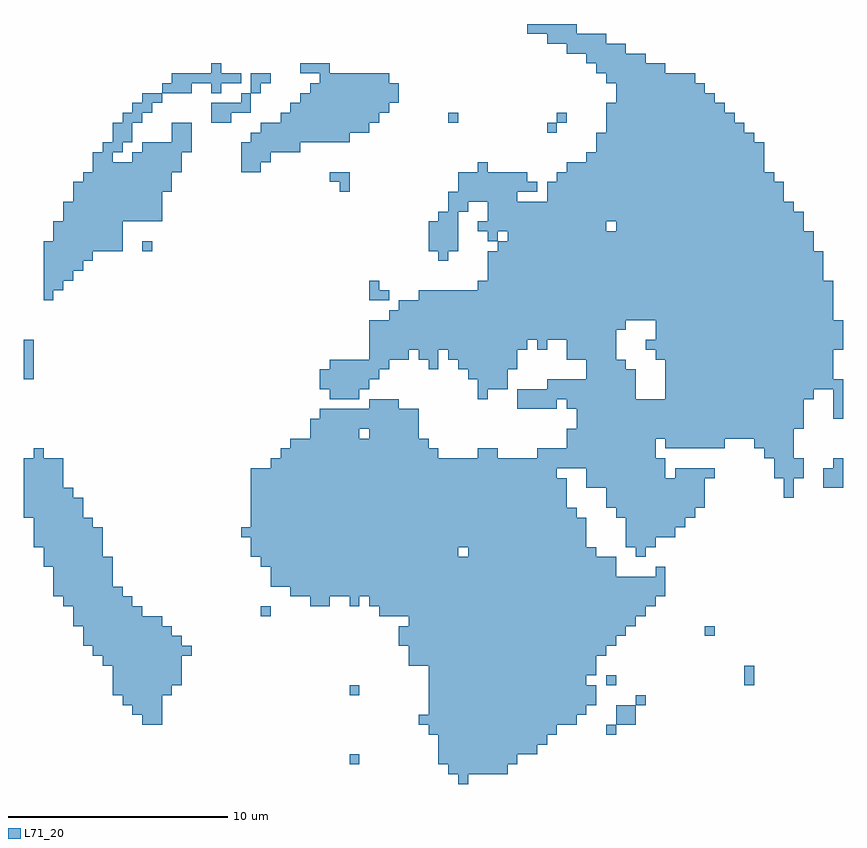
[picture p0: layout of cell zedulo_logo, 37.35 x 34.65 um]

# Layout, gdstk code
import gdstk
lib = gdstk.Library(unit=1e-6, precision=1e-09)
def R(c, l, rs):  # rectangles x0, y0, x1, y1
    for r in rs: c.add(gdstk.rectangle(r[:2], r[2:], *l))
def A(c, l, x, y, w, h, nx, ny, dx, dy):  # array of equal rectangles
    R(c, l, [(x+i*dx, y+j*dy, x+i*dx+w, y+j*dy+h) for i in range(nx) for j in range(ny)])
L71_20 = (71, 20)

zedulo_logo = lib.new_cell('zedulo_logo')
A(zedulo_logo, L71_20, 13.95, 17.55, 14.4, 0.45, 1, 3, 0, 0.45)
A(zedulo_logo, L71_20, 3.6, 18.45, 1.8, 0.45, 1, 3, 0, 0.45)
A(zedulo_logo, L71_20, 40.5, 21.6, 0.45, 0.45, 1, 3, 0, 0.45)
A(zedulo_logo, L71_20, 3.6, 23.4, 0.45, 0.45, 1, 4, 0, 0.45)
A(zedulo_logo, L71_20, 24.75, 27.9, 15.3, 0.45, 1, 3, 0, 0.45)
A(zedulo_logo, L71_20, 22.05, 29.25, 1.35, 0.45, 1, 3, 0, 0.45)
R(zedulo_logo, L71_20, [(23.4,4.95,23.85,5.4), (22.95,5.4,25.65,5.85), (18.45,5.85,18.9,6.3), (22.5,5.85,26.1,6.3), (22.5,6.3,27,6.75), (22.5,6.75,27.45,7.2), (22.05,7.2,27.9,7.65), (30.15,7.2,30.6,7.65), (9,7.65,9.9,8.1), (21.6,7.65,28.8,8.1), (30.6,7.65,31.5,8.1), (8.55,8.1,9.9,8.55), (22.05,8.1,29.25,8.55), (30.6,8.1,31.5,8.55), (8.1,8.55,9.9,9), (22.05,8.55,29.7,9), (31.5,8.55,31.95,9), (7.65,9,10.35,9.45), (18.45,9,18.9,9.45), (22.05,9,29.7,9.45), (7.65,9.45,10.8,9.9), (22.05,9.45,29.25,9.9), (30.15,9.45,30.6,9.9), (36.45,9.45,36.9,9.9), (7.65,9.9,10.8,10.35), (22.05,9.9,29.7,10.35), (36.45,9.9,36.9,10.35), (7.2,10.35,10.8,10.8), (21.15,10.35,29.7,10.8), (6.75,10.8,11.25,11.25), (21.15,10.8,30.15,11.25), (6.3,11.25,10.8,11.7), (20.7,11.25,30.6,11.7), (6.3,11.7,10.35,12.15), (20.7,11.7,31.05,12.15), (34.65,11.7,35.1,12.15), (5.85,12.15,9.9,12.6), (21.15,12.15,31.5,12.6), (5.85,12.6,9,13.05), (14.4,12.6,14.85,13.05), (19.8,12.6,31.95,13.05), (5.4,13.05,8.55,13.5), (16.65,13.05,17.55,13.5), (18.45,13.05,18.9,13.5), (19.35,13.05,32.4,13.5), (4.95,13.5,8.1,13.95), (15.75,13.5,32.85,13.95), (4.95,13.95,7.65,14.4), (14.85,13.95,32.85,14.4), (4.95,14.4,7.65,14.85), (14.85,14.4,30.6,14.85), (32.4,14.4,32.85,14.85), (4.5,14.85,7.65,15.3), (14.4,14.85,30.6,15.3), (4.5,15.3,7.2,15.75), (13.95,15.3,23.4,15.75), (23.85,15.3,29.7,15.75), (31.5,15.3,31.95,15.75), (4.05,15.75,7.2,16.2), (13.95,15.75,29.25,16.2), (31.05,15.75,32.4,16.2), (4.05,16.2,7.2,16.65), (13.5,16.2,29.25,16.65), (31.05,16.2,33.3,16.65), (4.05,16.65,6.75,17.1), (13.95,16.65,29.25,17.1), (31.05,16.65,33.75,17.1), (3.6,17.1,6.3,17.55), (13.95,17.1,28.8,17.55), (30.6,17.1,34.2,17.55), (3.6,17.55,6.3,18), (30.15,17.55,34.65,18), (3.6,18,5.85,18.45), (30.15,18,34.65,18.45), (38.25,18,38.7,18.45), (29.25,18.45,34.65,18.9), (38.25,18.45,38.7,18.9), (40.05,18.45,40.95,18.9), (13.95,18.9,27.9,19.35), (29.25,18.9,32.85,19.35), (33.3,18.9,35.1,19.35), (37.8,18.9,39.15,19.35), (40.05,18.9,40.95,19.35), (14.85,19.35,32.85,19.8), (37.8,19.35,39.15,19.8), (40.5,19.35,40.95,19.8), (4.05,19.8,4.5,20.25), (15.3,19.8,22.5,20.25), (24.3,19.8,25.2,20.25), (27,19.8,32.4,20.25), (37.35,19.8,38.7,20.25), (15.75,20.25,22.05,20.7), (28.35,20.25,32.4,20.7), (32.85,20.25,35.55,20.7), (36.9,20.25,38.7,20.7), (16.65,20.7,18.9,21.15), (19.35,20.7,21.6,21.15), (28.35,20.7,38.7,21.15), (16.65,21.15,21.6,21.6), (28.8,21.15,39.15,21.6), (17.1,21.6,21.6,22.05), (28.8,21.6,39.15,22.05), (19.35,22.05,20.7,22.5), (26.1,22.05,27.9,22.5), (28.35,22.05,39.15,22.5), (17.55,22.5,18.9,22.95), (24.3,22.5,24.75,22.95), (26.1,22.5,31.5,22.95), (32.85,22.5,39.6,22.95), (17.1,22.95,19.35,23.4), (24.3,22.95,25.65,23.4), (27.45,22.95,31.5,23.4), (32.85,22.95,40.95,23.4), (17.1,23.4,19.8,23.85), (23.85,23.4,25.65,23.85), (29.25,23.4,31.5,23.85), (32.85,23.4,40.5,23.85), (17.55,23.85,20.25,24.3), (22.05,23.85,22.5,24.3), (23.4,23.85,26.1,24.3), (29.25,23.85,31.05,24.3), (32.85,23.85,40.5,24.3), (19.35,24.3,21.15,24.75), (21.6,24.3,22.5,24.75), (22.95,24.3,26.1,24.75), (28.35,24.3,30.6,24.75), (32.4,24.3,40.5,24.75), (19.35,24.75,26.55,25.2), (27,24.75,27.45,25.2), (28.35,24.75,30.6,25.2), (31.95,24.75,40.95,25.2), (19.35,25.2,30.6,25.65), (32.4,25.2,40.95,25.65), (19.35,25.65,31.05,26.1), (32.4,25.65,40.95,26.1), (20.25,26.1,40.5,26.55), (20.7,26.55,40.5,27), (4.5,27,4.95,27.45), (19.35,27,20.25,27.45), (21.6,27,40.5,27.45), (4.5,27.45,5.4,27.9), (19.35,27.45,19.8,27.9), (24.3,27.45,40.5,27.9), (4.5,27.9,5.85,28.35), (4.5,28.35,6.3,28.8), (4.5,28.8,6.75,29.25), (22.5,28.8,22.95,29.25), (4.5,29.25,8.1,29.7), (9,29.25,9.45,29.7), (25.2,29.25,39.6,29.7), (4.95,29.7,8.1,30.15), (24.75,29.7,25.2,30.15), (25.65,29.7,39.6,30.15), (4.95,30.15,8.1,30.6), (24.3,30.15,30.15,30.6), (30.6,30.15,39.15,30.6), (5.4,30.6,9.9,31.05), (22.5,30.6,23.4,31.05), (24.75,30.6,39.15,31.05), (5.4,31.05,9.9,31.5), (22.95,31.05,23.85,31.5), (24.75,31.05,38.7,31.5), (5.85,31.5,9.9,31.95), (22.95,31.5,26.1,31.95), (27.45,31.5,38.25,31.95), (5.85,31.95,10.35,32.4), (18,31.95,18.45,32.4), (23.4,31.95,27,32.4), (27.45,31.95,38.25,32.4), (6.3,32.4,10.35,32.85), (17.55,32.4,18.45,32.85), (23.4,32.4,26.55,32.85), (27.9,32.4,37.8,32.85), (6.75,32.85,10.8,33.3), (13.5,32.85,14.4,33.3), (24.3,32.85,24.75,33.3), (28.35,32.85,37.35,33.3), (6.75,33.3,7.65,33.75), (8.55,33.3,10.8,33.75), (13.5,33.3,14.85,33.75), (29.25,33.3,37.35,33.75), (7.2,33.75,8.1,34.2), (9,33.75,11.25,34.2), (13.5,33.75,16.2,34.2), (29.7,33.75,37.35,34.2), (7.65,34.2,8.55,34.65), (10.35,34.2,11.25,34.65), (13.95,34.2,18.45,34.65), (29.7,34.2,36.9,34.65), (7.65,34.65,8.55,35.1), (10.35,34.65,11.25,35.1), (14.4,34.65,19.35,35.1), (27.45,34.65,27.9,35.1), (30.15,34.65,36.45,35.1), (8.1,35.1,9,35.55), (12.15,35.1,13.05,35.55), (15.3,35.1,19.8,35.55), (22.95,35.1,23.4,35.55), (27.9,35.1,28.35,35.55), (30.15,35.1,36,35.55), (8.55,35.55,9.45,36), (12.15,35.55,13.95,36), (15.75,35.55,20.25,36), (30.15,35.55,35.55,36), (9,36,9.9,36.45), (13.5,36,13.95,36.45), (16.2,36,20.7,36.45), (30.6,36,35.1,36.45), (9.9,36.45,11.25,36.9), (12.15,36.45,12.6,36.9), (13.95,36.45,14.4,36.9), (16.65,36.45,20.7,36.9), (30.6,36.45,34.65,36.9), (10.35,36.9,13.5,37.35), (13.95,36.9,14.85,37.35), (17.1,36.9,20.25,37.35), (30.15,36.9,34.2,37.35), (12.15,37.35,12.6,37.8), (16.2,37.35,17.55,37.8), (29.7,37.35,32.85,37.8), (29.25,37.8,31.95,38.25), (28.35,38.25,31.05,38.7), (27.45,38.7,30.15,39.15), (26.55,39.15,28.8,39.6)])

lib.write_gds('zedulo_logo.gds')
